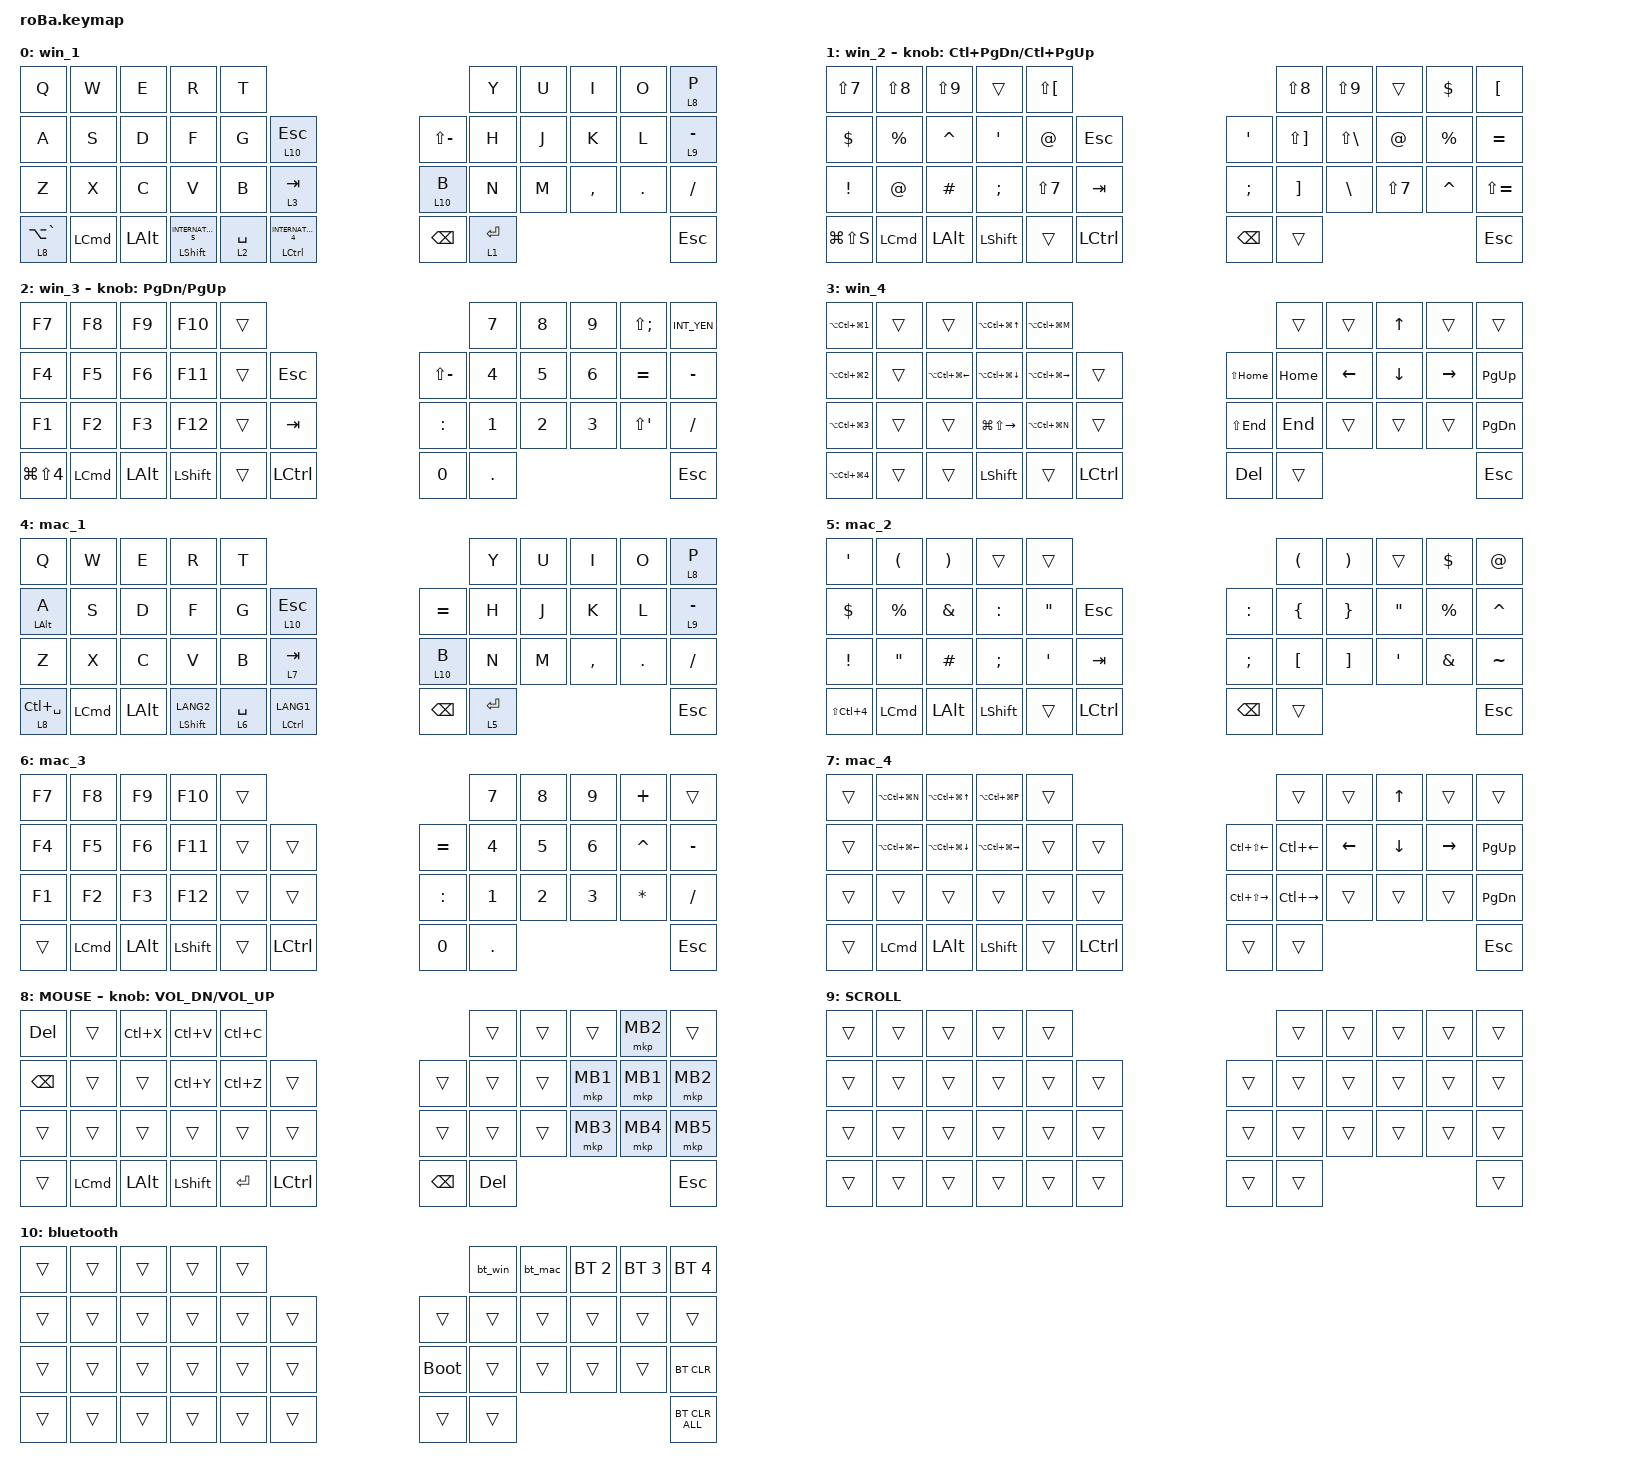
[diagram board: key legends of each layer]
#include <behaviors.dtsi>
#include <dt-bindings/zmk/bt.h>
#include <dt-bindings/zmk/keys.h>
#include <dt-bindings/zmk/pointing.h>

&mt {
    flavor = "balanced";
    quick-tap-ms = <0>;
    tapping-term-ms = <250>;
};

&trackball {
    //automouse-layer = <4>;

    scroll-layers = <9>;

    // arrows {
    //     layers = <3>;
    //     bindings =
    //         <&kp RIGHT_ARROW>,
    //         <&kp LEFT_ARROW>,
    //         <&kp UP_ARROW>,
    //         <&kp DOWN_ARROW>;
    //     tick = <10>;
    //     wait-ms = <5>;
    //     tap-ms = <5>;
    // };
};

/ {
    combos {
        compatible = "zmk,combos";

        eng {
            bindings = <&kp INTERNATIONAL_5>;
            key-positions = <37 38>;
        };

        kana {
            bindings = <&kp INTERNATIONAL_4>;
            key-positions = <38 39>;
        };
    };

    behaviors {
        tog_on: toggle_layer_on_only {
            compatible = "zmk,behavior-toggle-layer";
            label = "TOG_ON";
            #binding-cells = <1>;
        };

        tog_off: toggle_layer_off_only {
            compatible = "zmk,behavior-toggle-layer";
            #binding-cells = <1>;
            toggle-mode = "off";
        };
    };

    macros {
        bt_win: bt_win {
            compatible = "zmk,behavior-macro";
            #binding-cells = <0>;
            bindings = <&bt BT_SEL 0>, <&macro_wait_time 2000>, <&to 0>;

            label = "BT_WIN";
        };

        bt_mac: bt_mac {
            compatible = "zmk,behavior-macro";
            #binding-cells = <0>;
            bindings = <&bt BT_SEL 1>, <&macro_wait_time 2000>, <&to 4>;

            label = "BT_MAC";
        };
    };

    keymap {
        compatible = "zmk,keymap";

        win_1 {
            bindings = <
&kp Q            &kp W             &kp E         &kp R                           &kp T                                                             &kp Y        &kp U  &kp I      &kp O    &lt 8 P
&kp A            &kp S             &kp D         &kp F                           &kp G        &lt 10 ESCAPE                         &kp LS(MINUS)  &kp H        &kp J  &kp K      &kp L    &lt 9 MINUS
&kp Z            &kp X             &kp C         &kp V                           &kp B        &lt 3 TAB                             &lt 10 B       &kp N        &kp M  &kp COMMA  &kp DOT  &kp SLASH
&lt 8 LA(GRAVE)  &kp LEFT_COMMAND  &kp LEFT_ALT  &mt LEFT_SHIFT INTERNATIONAL_5  &lt 2 SPACE  &mt LEFT_CONTROL INTERNATIONAL_4      &kp BACKSPACE  &lt 1 ENTER                             &kp ESCAPE
            >;
        };

        win_2 {
            bindings = <
&kp LS(N7)       &kp LS(N8)        &kp LS(N9)    &trans          &kp LS(LEFT_BRACKET)                                       &kp LS(N8)             &kp LS(N9)         &trans       &kp DOLLAR   &kp LEFT_BRACKET
&kp DOLLAR       &kp PERCENT       &kp CARET     &kp SQT         &kp AT_SIGN           &kp ESCAPE            &kp SQT        &kp LS(RIGHT_BRACKET)  &kp LS(BACKSLASH)  &kp AT_SIGN  &kp PERCENT  &kp EQUAL
&kp EXCLAMATION  &kp AT_SIGN       &kp HASH      &kp SEMICOLON   &kp LS(N7)            &kp TAB               &kp SEMICOLON  &kp RIGHT_BRACKET      &kp BACKSLASH      &kp LS(N7)   &kp CARET    &kp LS(EQUAL)
&kp LG(LS(S))    &kp LEFT_COMMAND  &kp LEFT_ALT  &kp LEFT_SHIFT  &trans                &kp LEFT_CONTROL      &kp BACKSPACE  &trans                                                              &kp ESCAPE
            >;

            sensor-bindings = <&inc_dec_kp LC(PAGE_DOWN) LC(PAGE_UP)>;
        };

        win_3 {
            bindings = <
&kp F7                &kp F8            &kp F9        &kp F10         &trans                                       &kp N7   &kp N8  &kp N9  &kp LS(SEMICOLON)  &kp INT_YEN
&kp F4                &kp F5            &kp F6        &kp F11         &trans  &kp ESCAPE            &kp LS(MINUS)  &kp N4   &kp N5  &kp N6  &kp EQUAL          &kp MINUS
&kp F1                &kp F2            &kp F3        &kp F12         &trans  &kp TAB               &kp COLON      &kp N1   &kp N2  &kp N3  &kp LS(SQT)        &kp FSLH
&kp LG(LS(NUMBER_4))  &kp LEFT_COMMAND  &kp LEFT_ALT  &kp LEFT_SHIFT  &trans  &kp LEFT_CONTROL      &kp N0         &kp DOT                                     &kp ESC
            >;

            sensor-bindings = <&inc_dec_kp PAGE_DOWN PAGE_UP>;
        };

        win_4 {
            bindings = <
&kp LA(LC(LG(NUMBER_1)))  &trans  &trans                &kp LA(LC(LG(UP_ARROW)))  &kp LA(LC(LG(M)))                                          &trans    &trans    &kp UP_ARROW  &trans     &trans
&kp LA(LC(LG(NUMBER_2)))  &trans  &kp LA(LC(LG(LEFT)))  &kp LA(LC(LG(DOWN)))      &kp LA(LC(LG(RIGHT)))  &trans                &kp LS(HOME)  &kp HOME  &kp LEFT  &kp DOWN      &kp RIGHT  &kp PAGE_UP
&kp LA(LC(LG(NUMBER_3)))  &trans  &trans                &kp LG(LS(RIGHT_ARROW))   &kp LA(LC(LG(N)))      &trans                &kp LS(END)   &kp END   &trans    &trans        &trans     &kp PAGE_DOWN
&kp LA(LC(LG(NUMBER_4)))  &trans  &trans                &kp LEFT_SHIFT            &trans                 &kp LEFT_CONTROL      &kp DELETE    &trans                                       &kp ESCAPE
            >;
        };

        mac_1 {
            bindings = <
&kp Q            &kp W             &kp E         &kp R                 &kp T                                               &kp Y        &kp U  &kp I      &kp O    &lt 8 P
&mt LEFT_ALT A   &kp S             &kp D         &kp F                 &kp G        &lt 10 ESCAPE               &kp EQUAL  &kp H        &kp J  &kp K      &kp L    &lt 9 MINUS
&kp Z            &kp X             &kp C         &kp V                 &kp B        &lt 7 TAB                   &lt 10 B   &kp N        &kp M  &kp COMMA  &kp DOT  &kp FSLH
&lt 8 LC(SPACE)  &kp LEFT_COMMAND  &kp LEFT_ALT  &mt LEFT_SHIFT LANG2  &lt 6 SPACE  &mt LEFT_CONTROL LANG1      &kp BSPC   &lt 5 ENTER                             &kp ESC
            >;
        };

        mac_2 {
            bindings = <
&kp APOS              &kp LEFT_PARENTHESIS  &kp RIGHT_PARENTHESIS  &trans         &trans                                        &kp LEFT_PARENTHESIS  &kp RIGHT_PARENTHESIS  &trans             &kp DOLLAR     &kp AT
&kp DOLLAR            &kp PERCENT           &kp AMPERSAND          &kp COLON      &kp DOUBLE_QUOTES  &kp ESCAPE      &kp COLON  &kp LEFT_BRACE        &kp RIGHT_BRACE        &kp DOUBLE_QUOTES  &kp PERCENT    &kp CARET
&kp EXCLAMATION       &kp DOUBLE_QUOTES     &kp HASH               &kp SEMICOLON  &kp APOS           &kp TAB         &kp SEMI   &kp LBKT              &kp RBKT               &kp APOS           &kp AMPERSAND  &kp TILDE
&kp LS(LC(NUMBER_4))  &kp LEFT_COMMAND      &kp LEFT_ALT           &kp LSHFT      &trans             &kp LCTRL       &kp BSPC   &trans                                                                         &kp ESC
            >;
        };

        mac_3 {
            bindings = <
&kp F7  &kp F8            &kp F9        &kp F10    &trans                            &kp N7   &kp N8  &kp N9  &kp PLUS      &trans
&kp F4  &kp F5            &kp F6        &kp F11    &trans  &trans         &kp EQUAL  &kp N4   &kp N5  &kp N6  &kp CARET     &kp MINUS
&kp F1  &kp F2            &kp F3        &kp F12    &trans  &trans         &kp COLON  &kp N1   &kp N2  &kp N3  &kp ASTERISK  &kp FSLH
&trans  &kp LEFT_COMMAND  &kp LEFT_ALT  &kp LSHFT  &trans  &kp LCTRL      &kp N0     &kp DOT                                &kp ESC
            >;
        };

        mac_4 {
            bindings = <
&trans  &kp LA(LC(LG(N)))     &kp LA(LC(LG(UP_ARROW)))  &kp LA(LC(LG(P)))      &trans                                           &trans         &trans    &kp UP_ARROW  &trans     &trans
&trans  &kp LA(LC(LG(LEFT)))  &kp LA(LC(LG(DOWN)))      &kp LA(LC(LG(RIGHT)))  &trans  &trans                &kp LC(LS(LEFT))   &kp LC(LEFT)   &kp LEFT  &kp DOWN      &kp RIGHT  &kp PAGE_UP
&trans  &trans                &trans                    &trans                 &trans  &trans                &kp LC(LS(RIGHT))  &kp LC(RIGHT)  &trans    &trans        &trans     &kp PAGE_DOWN
&trans  &kp LEFT_COMMAND      &kp LEFT_ALT              &kp LEFT_SHIFT         &trans  &kp LEFT_CONTROL      &trans             &trans                                            &kp ESCAPE
            >;
        };

        MOUSE {
            bindings = <
&kp DEL        &trans            &kp LC(X)     &kp LC(V)       &kp LC(C)                                       &trans      &trans  &trans    &mkp MB2  &trans
&kp BACKSPACE  &trans            &trans        &kp LC(Y)       &kp LC(Z)  &trans                &trans         &trans      &trans  &mkp MB1  &mkp MB1  &mkp MB2
&trans         &trans            &trans        &trans          &trans     &trans                &trans         &trans      &trans  &mkp MB3  &mkp MB4  &mkp MB5
&trans         &kp LEFT_COMMAND  &kp LEFT_ALT  &kp LEFT_SHIFT  &kp ENTER  &kp LEFT_CONTROL      &kp BACKSPACE  &kp DELETE                              &kp ESCAPE
            >;

            sensor-bindings = <&inc_dec_kp C_VOL_DN C_VOL_UP>;
        };

        SCROLL {
            bindings = <
&trans  &trans  &trans  &trans  &trans                      &trans  &trans  &trans  &trans  &trans
&trans  &trans  &trans  &trans  &trans  &trans      &trans  &trans  &trans  &trans  &trans  &trans
&trans  &trans  &trans  &trans  &trans  &trans      &trans  &trans  &trans  &trans  &trans  &trans
&trans  &trans  &trans  &trans  &trans  &trans      &trans  &trans                          &trans
            >;
        };

        bluetooth {
            bindings = <
&trans  &trans  &trans  &trans  &trans                           &bt_win  &bt_mac  &bt BT_SEL 2  &bt BT_SEL 3  &bt BT_SEL 4
&trans  &trans  &trans  &trans  &trans  &trans      &trans       &trans   &trans   &trans        &trans        &trans
&trans  &trans  &trans  &trans  &trans  &trans      &bootloader  &trans   &trans   &trans        &trans        &bt BT_CLR
&trans  &trans  &trans  &trans  &trans  &trans      &trans       &trans                                        &bt BT_CLR_ALL
            >;
        };
    };
};
